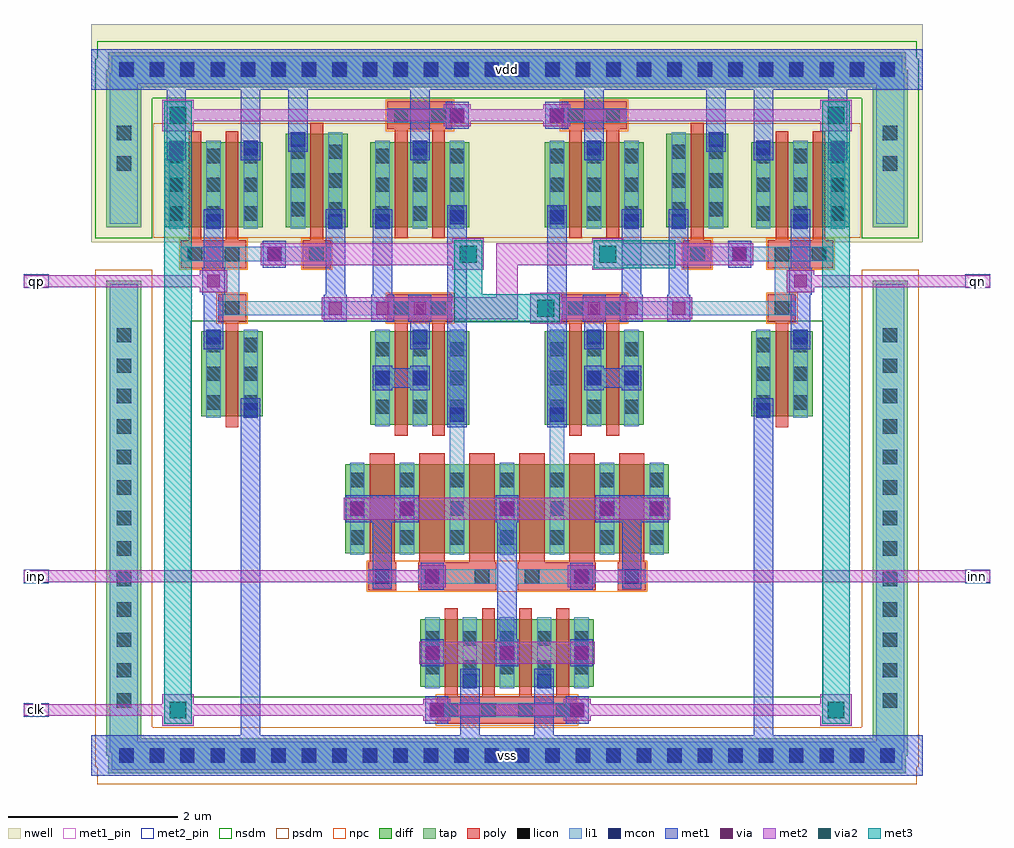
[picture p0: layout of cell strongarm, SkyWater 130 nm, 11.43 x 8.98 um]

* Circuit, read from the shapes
.subckt strongarm clk inn inp qn qp vdd vss
XM1 vss n1 qp vss sky130_fd_pr__nfet_01v8 w=1 l=0.15
XM2 n2 n2 n2 vss sky130_fd_pr__nfet_01v8 w=1.05 l=0.3 m=2
XM3 n3 n1 n3 vss sky130_fd_pr__nfet_01v8 w=1.1 l=0.15
XM4 n4 inp n2 vss sky130_fd_pr__nfet_01v8 w=1.05 l=0.3 m=2
XM5 n4 n1 n3 vss sky130_fd_pr__nfet_01v8 w=1.1 l=0.15
XM6 vss clk n2 vss sky130_fd_pr__nfet_01v8 w=0.8 l=0.15 m=4
XM7 n5 inn n2 vss sky130_fd_pr__nfet_01v8 w=1.05 l=0.3 m=2
XM8 n1 n3 n5 vss sky130_fd_pr__nfet_01v8 w=1.1 l=0.15
XM9 n1 n3 n1 vss sky130_fd_pr__nfet_01v8 w=1.1 l=0.15
XM10 qn n3 vss vss sky130_fd_pr__nfet_01v8 w=1 l=0.15
XM11 qp n1 vdd vdd sky130_fd_pr__pfet_01v8 w=1 l=0.15 m=2
XM12 n3 n1 vdd vdd sky130_fd_pr__pfet_01v8 w=1.1 l=0.15
XM13 vdd clk n3 vdd sky130_fd_pr__pfet_01v8 w=1 l=0.15
XM14 n4 clk vdd vdd sky130_fd_pr__pfet_01v8 w=1 l=0.15
XM15 vdd clk n5 vdd sky130_fd_pr__pfet_01v8 w=1 l=0.15
XM16 n1 clk vdd vdd sky130_fd_pr__pfet_01v8 w=1 l=0.15
XM17 vdd n3 n1 vdd sky130_fd_pr__pfet_01v8 w=1.1 l=0.15
XM18 qn n3 vdd vdd sky130_fd_pr__pfet_01v8 w=1 l=0.15 m=2
.ends

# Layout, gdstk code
import gdstk
lib = gdstk.Library(unit=1e-6, precision=1e-09)
def R(c, l, rs):  # rectangles x0, y0, x1, y1
    for r in rs: c.add(gdstk.rectangle(r[:2], r[2:], *l))
def A(c, l, x, y, w, h, nx, ny, dx, dy):  # array of equal rectangles
    R(c, l, [(x+i*dx, y+j*dy, x+i*dx+w, y+j*dy+h) for i in range(nx) for j in range(ny)])
nwell = (64, 20)
diff = (65, 20)
tap = (65, 44)
poly = (66, 20)
licon = (66, 44)
li1 = (67, 20)
mcon = (67, 44)
met1_pin = (68, 16)
met1 = (68, 20)
via = (68, 44)
met2_pin = (69, 16)
met2 = (69, 20)
via2 = (69, 44)
met3 = (70, 20)
nsdm = (93, 44)
psdm = (94, 20)
npc = (95, 20)

strongarm = lib.new_cell('strongarm')
R(strongarm, nwell, [(-4.915,6.31,4.915,8.89)])
A(strongarm, diff, -1.025, 1.055, 0.73, 0.8, 4, 1, 0.44, 0)
A(strongarm, diff, -1.915, 2.635, 0.88, 1.05, 6, 1, 0.59, 0)
R(strongarm, diff, [(-1.615,4.155,-0.885,5.255), (-1.175,4.155,-0.445,5.255), (0.445,4.155,1.175,5.255), (0.885,4.155,1.615,5.255), (-3.615,4.255,-2.885,5.255), (2.885,4.255,3.615,5.255), (-4.055,6.49,-3.325,7.49), (-3.615,6.49,-2.885,7.49), (-2.615,6.49,-1.885,7.59), (-1.615,6.49,-0.885,7.49), (-1.175,6.49,-0.445,7.49), (0.445,6.49,1.175,7.49), (0.885,6.49,1.615,7.49), (1.885,6.49,2.615,7.59), (2.885,6.49,3.615,7.49), (3.325,6.49,4.055,7.49)])
R(strongarm, tap, [(-4.715,0.035,4.715,0.445), (-4.735,0.24,-4.325,5.855), (4.325,0.24,4.735,5.855), (-4.735,6.49,-4.325,8.35), (4.325,6.49,4.735,8.35), (-4.715,8.145,4.715,8.555)])
A(strongarm, poly, -0.825, 0.615, 0.33, 0.33, 4, 1, 0.44, 0)
A(strongarm, poly, -0.505, 0.615, 0.13, 0.33, 3, 1, 0.44, 0)
A(strongarm, poly, -0.735, 0.945, 0.15, 1.04, 4, 1, 0.44, 0)
A(strongarm, poly, -1.64, 2.195, 0.33, 0.33, 6, 1, 0.59, 0)
A(strongarm, poly, -1.625, 2.525, 0.3, 1.29, 6, 1, 0.59, 0)
R(strongarm, poly, [(-0.73,2.195,-0.45,2.525), (0.45,2.195,0.73,2.525), (-1.325,4.025,-1.175,5.365), (-0.885,4.025,-0.735,5.365), (0.735,4.025,0.885,5.365), (1.175,4.025,1.325,5.365), (-3.325,4.125,-3.175,5.365), (3.175,4.125,3.325,5.365), (-3.415,5.365,-3.085,5.695), (-1.415,5.365,-1.085,5.695), (-1.095,5.365,-0.965,5.695), (-0.975,5.365,-0.645,5.695), (0.645,5.365,0.975,5.695), (0.965,5.365,1.095,5.695), (1.085,5.365,1.415,5.695), (3.085,5.365,3.415,5.695), (-3.855,6.005,-3.525,6.335), (-3.535,6.005,-3.405,6.335), (-3.415,6.005,-3.085,6.335), (-2.415,6.005,-2.085,6.335), (2.085,6.005,2.415,6.335), (3.085,6.005,3.415,6.335), (3.405,6.005,3.535,6.335), (3.525,6.005,3.855,6.335), (-3.765,6.335,-3.615,7.62), (-3.325,6.335,-3.175,7.62), (-2.325,6.335,-2.175,7.72), (2.175,6.335,2.325,7.72), (3.175,6.335,3.325,7.62), (3.615,6.335,3.765,7.62), (-1.325,6.36,-1.175,7.645), (-0.885,6.36,-0.735,7.645), (0.735,6.36,0.885,7.645), (1.175,6.36,1.325,7.645), (-1.415,7.645,-1.085,7.975), (-1.095,7.645,-0.965,7.975), (-0.975,7.645,-0.645,7.975), (0.645,7.645,0.975,7.975), (0.965,7.645,1.095,7.975), (1.085,7.645,1.415,7.975)])
A(strongarm, licon, -4.585, 0.155, 0.17, 0.17, 26, 2, 0.36, 8.11)
A(strongarm, licon, -0.745, 0.695, 0.17, 0.17, 4, 1, 0.44, 0)
A(strongarm, licon, -4.615, 0.805, 0.17, 0.17, 1, 13, 0, 0.36)
A(strongarm, licon, 4.445, 0.805, 0.17, 0.17, 1, 13, 0, 0.36)
A(strongarm, licon, -1.56, 2.275, 0.17, 0.17, 6, 1, 0.59, 0)
A(strongarm, licon, -1.855, 2.735, 0.17, 0.17, 1, 3, 0, 0.34)
A(strongarm, licon, 1.685, 2.735, 0.17, 0.17, 1, 3, 0, 0.34)
A(strongarm, licon, -1.555, 4.28, 0.17, 0.17, 1, 3, 0, 0.34)
A(strongarm, licon, -0.675, 4.28, 0.17, 0.17, 1, 3, 0, 0.34)
A(strongarm, licon, 0.505, 4.28, 0.17, 0.17, 1, 3, 0, 0.34)
A(strongarm, licon, 1.385, 4.28, 0.17, 0.17, 1, 3, 0, 0.34)
A(strongarm, licon, -3.555, 4.33, 0.17, 0.17, 1, 3, 0, 0.34)
A(strongarm, licon, -3.115, 4.33, 0.17, 0.17, 1, 3, 0, 0.34)
A(strongarm, licon, 2.945, 4.33, 0.17, 0.17, 1, 3, 0, 0.34)
A(strongarm, licon, 3.385, 4.33, 0.17, 0.17, 1, 3, 0, 0.34)
A(strongarm, licon, -3.995, 6.565, 0.17, 0.17, 1, 3, 0, 0.34)
A(strongarm, licon, -3.115, 6.565, 0.17, 0.17, 1, 3, 0, 0.34)
A(strongarm, licon, -1.555, 6.565, 0.17, 0.17, 1, 3, 0, 0.34)
A(strongarm, licon, -0.675, 6.565, 0.17, 0.17, 1, 3, 0, 0.34)
A(strongarm, licon, 0.505, 6.565, 0.17, 0.17, 1, 3, 0, 0.34)
A(strongarm, licon, 1.385, 6.565, 0.17, 0.17, 1, 3, 0, 0.34)
A(strongarm, licon, 2.945, 6.565, 0.17, 0.17, 1, 3, 0, 0.34)
A(strongarm, licon, 3.825, 6.565, 0.17, 0.17, 1, 3, 0, 0.34)
A(strongarm, licon, -2.555, 6.615, 0.17, 0.17, 1, 3, 0, 0.34)
A(strongarm, licon, -2.115, 6.615, 0.17, 0.17, 1, 3, 0, 0.34)
A(strongarm, licon, 1.945, 6.615, 0.17, 0.17, 1, 3, 0, 0.34)
A(strongarm, licon, 2.385, 6.615, 0.17, 0.17, 1, 3, 0, 0.34)
R(strongarm, licon, [(-0.965,1.2,-0.795,1.37), (-0.525,1.2,-0.355,1.37), (-0.525,1.2,-0.355,1.37), (-0.085,1.2,0.085,1.37), (-0.085,1.2,0.085,1.37), (0.355,1.2,0.525,1.37), (0.355,1.2,0.525,1.37), (0.795,1.2,0.965,1.37), (-0.965,1.54,-0.795,1.71), (-0.525,1.54,-0.355,1.71), (-0.525,1.54,-0.355,1.71), (-0.085,1.54,0.085,1.71), (-0.085,1.54,0.085,1.71), (0.355,1.54,0.525,1.71), (0.355,1.54,0.525,1.71), (0.795,1.54,0.965,1.71), (-1.265,2.735,-1.095,2.905), (-1.265,2.735,-1.095,2.905), (-0.675,2.735,-0.505,2.905), (-0.675,2.735,-0.505,2.905), (-0.085,2.735,0.085,2.905), (-0.085,2.735,0.085,2.905), (0.505,2.735,0.675,2.905), (0.505,2.735,0.675,2.905), (1.095,2.735,1.265,2.905), (1.095,2.735,1.265,2.905), (-1.265,3.075,-1.095,3.245), (-1.265,3.075,-1.095,3.245), (-0.675,3.075,-0.505,3.245), (-0.675,3.075,-0.505,3.245), (-0.085,3.075,0.085,3.245), (-0.085,3.075,0.085,3.245), (0.505,3.075,0.675,3.245), (0.505,3.075,0.675,3.245), (1.095,3.075,1.265,3.245), (1.095,3.075,1.265,3.245), (-1.265,3.415,-1.095,3.585), (-1.265,3.415,-1.095,3.585), (-0.675,3.415,-0.505,3.585), (-0.675,3.415,-0.505,3.585), (-0.085,3.415,0.085,3.585), (-0.085,3.415,0.085,3.585), (0.505,3.415,0.675,3.585), (0.505,3.415,0.675,3.585), (1.095,3.415,1.265,3.585), (1.095,3.415,1.265,3.585), (-1.115,4.28,-0.945,4.45), (-1.115,4.28,-0.945,4.45), (0.945,4.28,1.115,4.45), (0.945,4.28,1.115,4.45), (-1.115,4.62,-0.945,4.79), (-1.115,4.62,-0.945,4.79), (0.945,4.62,1.115,4.79), (0.945,4.62,1.115,4.79), (-1.115,4.96,-0.945,5.13), (-1.115,4.96,-0.945,5.13), (0.945,4.96,1.115,5.13), (0.945,4.96,1.115,5.13), (-3.335,5.445,-3.165,5.615), (-1.335,5.445,-1.165,5.615), (-0.895,5.445,-0.725,5.615), (0.725,5.445,0.895,5.615), (1.165,5.445,1.335,5.615), (3.165,5.445,3.335,5.615), (-3.775,6.085,-3.605,6.255), (-3.335,6.085,-3.165,6.255), (-2.335,6.085,-2.165,6.255), (2.165,6.085,2.335,6.255), (3.165,6.085,3.335,6.255), (3.605,6.085,3.775,6.255), (-3.555,6.565,-3.385,6.735), (-3.555,6.565,-3.385,6.735), (-1.115,6.565,-0.945,6.735), (-1.115,6.565,-0.945,6.735), (0.945,6.565,1.115,6.735), (0.945,6.565,1.115,6.735), (3.385,6.565,3.555,6.735), (3.385,6.565,3.555,6.735), (-3.555,6.905,-3.385,7.075), (-3.555,6.905,-3.385,7.075), (-1.115,6.905,-0.945,7.075), (-1.115,6.905,-0.945,7.075), (0.945,6.905,1.115,7.075), (0.945,6.905,1.115,7.075), (3.385,6.905,3.555,7.075), (3.385,6.905,3.555,7.075), (-4.615,7.155,-4.445,7.325), (4.445,7.155,4.615,7.325), (-3.555,7.245,-3.385,7.415), (-3.555,7.245,-3.385,7.415), (-1.115,7.245,-0.945,7.415), (-1.115,7.245,-0.945,7.415), (0.945,7.245,1.115,7.415), (0.945,7.245,1.115,7.415), (3.385,7.245,3.555,7.415), (3.385,7.245,3.555,7.415), (-4.615,7.515,-4.445,7.685), (4.445,7.515,4.615,7.685), (-1.335,7.725,-1.165,7.895), (-0.895,7.725,-0.725,7.895), (0.725,7.725,0.895,7.895), (1.165,7.725,1.335,7.895)])
A(strongarm, li1, -0.825, 0.695, 0.33, 0.17, 4, 1, 0.44, 0)
A(strongarm, li1, -0.505, 0.695, 0.13, 0.17, 3, 1, 0.44, 0)
A(strongarm, li1, -1.64, 2.275, 0.33, 0.17, 6, 1, 0.59, 0)
R(strongarm, li1, [(-4.675,0.075,4.675,0.405), (-4.695,0.28,-4.365,5.815), (4.365,0.28,4.695,5.815), (-0.915,0.695,0.915,0.865), (-0.965,1.035,-0.795,1.875), (-0.525,1.035,-0.355,1.875), (-0.525,1.035,-0.355,1.875), (-0.085,1.035,0.085,1.875), (-0.085,1.035,0.085,1.875), (0.355,1.035,0.525,1.875), (0.355,1.035,0.525,1.875), (0.795,1.035,0.965,1.875), (-0.73,2.275,-0.45,2.445), (0.45,2.275,0.73,2.445), (-1.855,2.615,-1.685,3.705), (-1.265,2.615,-1.095,3.705), (-1.265,2.615,-1.095,3.705), (-0.675,2.615,-0.505,3.705), (-0.675,2.615,-0.505,3.705), (-0.085,2.615,0.085,3.705), (-0.085,2.615,0.085,3.705), (0.505,2.615,0.675,3.705), (0.505,2.615,0.675,3.705), (1.095,2.615,1.265,3.705), (1.095,2.615,1.265,3.705), (1.685,2.615,1.855,3.705), (-0.675,3.695,-0.505,4.145), (0.505,3.695,0.675,4.145), (-1.555,4.135,-1.385,5.275), (-1.115,4.135,-0.945,5.275), (-1.115,4.135,-0.945,5.275), (-0.675,4.135,-0.505,5.275), (0.505,4.135,0.675,5.275), (0.945,4.135,1.115,5.275), (0.945,4.135,1.115,5.275), (1.385,4.135,1.555,5.275), (-3.555,4.235,-3.385,5.275), (-3.115,4.235,-2.945,5.275), (2.945,4.235,3.115,5.275), (3.385,4.235,3.555,5.275), (-3.415,5.445,-3.085,5.615), (-3.335,5.445,-0.725,5.615), (-1.415,5.445,-1.085,5.615), (-1.095,5.445,-0.965,5.615), (-0.975,5.445,-0.645,5.615), (0.645,5.445,0.975,5.615), (0.725,5.445,3.335,5.615), (0.965,5.445,1.095,5.615), (1.085,5.445,1.415,5.615), (3.085,5.445,3.415,5.615), (-3.335,5.53,-3.165,6.17), (3.165,5.53,3.335,6.17), (-3.855,6.085,-3.525,6.255), (-3.775,6.085,-2.165,6.255), (-3.535,6.085,-3.405,6.255), (-3.415,6.085,-3.085,6.255), (-2.415,6.085,-2.085,6.255), (2.085,6.085,2.415,6.255), (2.165,6.085,3.775,6.255), (3.085,6.085,3.415,6.255), (3.405,6.085,3.535,6.255), (3.525,6.085,3.855,6.255), (-3.995,6.47,-3.825,7.51), (-3.555,6.47,-3.385,7.51), (-3.555,6.47,-3.385,7.51), (-3.115,6.47,-2.945,7.51), (-2.555,6.47,-2.385,7.61), (-2.115,6.47,-1.945,7.61), (-1.555,6.47,-1.385,7.51), (-1.115,6.47,-0.945,7.51), (-1.115,6.47,-0.945,7.51), (-0.675,6.47,-0.505,7.51), (0.505,6.47,0.675,7.51), (0.945,6.47,1.115,7.51), (0.945,6.47,1.115,7.51), (1.385,6.47,1.555,7.51), (1.945,6.47,2.115,7.61), (2.385,6.47,2.555,7.61), (2.945,6.47,3.115,7.51), (3.385,6.47,3.555,7.51), (3.385,6.47,3.555,7.51), (3.825,6.47,3.995,7.51), (-4.695,6.53,-4.365,8.31), (4.365,6.53,4.695,8.31), (-1.415,7.725,-1.085,7.895), (-1.335,7.725,-0.505,7.895), (-1.095,7.725,-0.965,7.895), (-0.975,7.725,-0.645,7.895), (0.505,7.725,1.335,7.895), (0.645,7.725,0.975,7.895), (0.965,7.725,1.095,7.895), (1.085,7.725,1.415,7.895), (-4.675,8.185,4.675,8.515)])
A(strongarm, mcon, -4.585, 0.155, 0.17, 0.17, 26, 2, 0.36, 8.11)
A(strongarm, mcon, -0.965, 1.37, 0.17, 0.17, 3, 1, 0.88, 0)
A(strongarm, mcon, -1.265, 3.075, 0.17, 0.17, 3, 1, 1.18, 0)
R(strongarm, mcon, [(-0.915,0.695,-0.745,0.865), (0.745,0.695,0.915,0.865), (-0.525,1.035,-0.355,1.205), (0.355,1.035,0.525,1.205), (-1.56,2.275,-1.39,2.445), (-0.97,2.275,-0.8,2.445), (0.795,2.275,0.965,2.445), (1.39,2.275,1.56,2.445), (-1.855,3.075,-1.685,3.245), (1.685,3.075,1.855,3.245), (-0.675,4.185,-0.505,4.355), (0.505,4.185,0.675,4.355), (-3.115,4.235,-2.945,4.405), (2.945,4.235,3.115,4.405), (-1.555,4.62,-1.385,4.79), (-1.115,4.62,-0.945,4.79), (0.945,4.62,1.115,4.79), (1.385,4.62,1.555,4.79), (-3.555,5.105,-3.385,5.275), (-1.115,5.105,-0.945,5.275), (0.945,5.105,1.115,5.275), (3.385,5.105,3.555,5.275), (-2.835,6.085,-2.665,6.255), (2.665,6.085,2.835,6.255), (-3.555,6.47,-3.385,6.64), (-2.115,6.47,-1.945,6.64), (-1.555,6.47,-1.385,6.64), (1.385,6.47,1.555,6.64), (1.945,6.47,2.115,6.64), (3.385,6.47,3.555,6.64), (-0.675,6.52,-0.505,6.69), (0.505,6.52,0.675,6.69), (-3.995,7.34,-3.825,7.51), (-3.115,7.34,-2.945,7.51), (-1.115,7.34,-0.945,7.51), (0.945,7.34,1.115,7.51), (2.945,7.34,3.115,7.51), (3.825,7.34,3.995,7.51), (-2.555,7.44,-2.385,7.61), (2.385,7.44,2.555,7.61), (-0.675,7.725,-0.505,7.895), (0.505,7.725,0.675,7.895)])
R(strongarm, met1_pin, [(-0.15,0.16,0.15,0.32), (-0.15,8.27,0.15,8.43)])
A(strongarm, met1, -1.015, 1.295, 0.27, 0.32, 3, 1, 0.88, 0)
A(strongarm, met1, -1.315, 3, 0.27, 0.32, 3, 1, 1.18, 0)
R(strongarm, met1, [(-4.915,0,4.915,0.48), (-3.145,0.24,-2.915,4.405), (-0.555,0.24,-0.325,1.205), (0.325,0.24,0.555,1.205), (2.915,0.24,3.145,4.405), (-0.965,0.62,-0.695,0.94), (0.695,0.62,0.965,0.94), (-0.555,0.975,-0.325,1.265), (0.325,0.975,0.555,1.265), (-0.115,1.455,0.115,3.16), (-1.02,2.2,-0.75,2.52), (-1.02,2.2,-0.75,2.52), (0.745,2.2,1.015,2.52), (0.745,2.2,1.015,2.52), (-1.59,2.215,-1.36,2.505), (1.36,2.215,1.59,2.505), (-1.59,2.36,-1.36,3.16), (1.36,2.36,1.59,3.16), (-1.905,3,-1.635,3.32), (-1.77,3,-1.18,3.32), (1.18,3,1.77,3.32), (1.635,3,1.905,3.32), (-0.705,4.125,-0.475,4.415), (0.475,4.125,0.705,4.415), (-3.145,4.175,-2.915,4.465), (2.915,4.175,3.145,4.465), (-0.705,4.185,-0.475,6.69), (0.475,4.185,0.705,6.69), (-1.585,4.56,-1.355,4.85), (-1.145,4.56,-0.915,4.85), (0.915,4.56,1.145,4.85), (1.355,4.56,1.585,4.85), (-1.47,4.59,-1.03,4.82), (1.03,4.59,1.47,4.82), (-3.585,5.045,-3.355,5.335), (-1.145,5.045,-0.915,5.335), (0.915,5.045,1.145,5.335), (3.355,5.045,3.585,5.335), (-3.585,5.105,-3.355,6.64), (-1.145,5.105,-0.915,5.53), (0.915,5.105,1.145,5.53), (3.355,5.105,3.585,6.64), (-2.165,5.37,-1.895,5.69), (-2.145,5.37,-1.915,5.69), (-1.605,5.37,-1.335,5.69), (-1.585,5.37,-1.355,5.69), (-1.165,5.37,-0.895,5.69), (-1.145,5.37,-0.915,5.69), (0.895,5.37,1.165,5.69), (0.915,5.37,1.145,5.69), (1.335,5.37,1.605,5.69), (1.355,5.37,1.585,5.69), (1.895,5.37,2.165,5.69), (1.915,5.37,2.145,5.69), (-2.145,5.53,-1.915,6.64), (-1.585,5.53,-1.355,6.64), (1.355,5.53,1.585,6.64), (1.915,5.53,2.145,6.64), (-3.605,5.69,-3.335,6.01), (3.335,5.69,3.605,6.01), (-2.885,6.01,-2.615,6.33), (2.615,6.01,2.885,6.33), (-3.585,6.41,-3.355,6.7), (-2.145,6.41,-1.915,6.7), (-1.585,6.41,-1.355,6.7), (1.355,6.41,1.585,6.7), (1.915,6.41,2.145,6.7), (3.355,6.41,3.585,6.7), (-0.705,6.46,-0.475,6.75), (0.475,6.46,0.705,6.75), (-4.025,7.28,-3.795,7.57), (-3.145,7.28,-2.915,7.57), (-1.145,7.28,-0.915,7.57), (0.915,7.28,1.145,7.57), (2.915,7.28,3.145,7.57), (3.795,7.28,4.025,7.57), (-4.025,7.34,-3.795,8.35), (-3.145,7.34,-2.915,8.35), (-1.145,7.34,-0.915,8.35), (0.915,7.34,1.145,8.35), (2.915,7.34,3.145,8.35), (3.795,7.34,4.025,8.35), (-2.585,7.38,-2.355,7.67), (2.355,7.38,2.585,7.67), (-2.585,7.44,-2.355,8.35), (2.355,7.44,2.585,8.35), (-0.725,7.65,-0.455,7.97), (0.455,7.65,0.725,7.97), (-4.915,8.11,4.915,8.59)])
A(strongarm, via, -0.955, 1.38, 0.15, 0.15, 3, 1, 0.88, 0)
A(strongarm, via, -1.255, 3.085, 0.15, 0.15, 3, 1, 1.18, 0)
R(strongarm, via, [(-0.905,0.705,-0.755,0.855), (0.755,0.705,0.905,0.855), (-0.96,2.285,-0.81,2.435), (0.805,2.285,0.955,2.435), (-1.845,3.085,-1.695,3.235), (1.695,3.085,1.845,3.235), (-2.105,5.455,-1.955,5.605), (-1.545,5.455,-1.395,5.605), (-1.105,5.455,-0.955,5.605), (0.955,5.455,1.105,5.605), (1.395,5.455,1.545,5.605), (1.955,5.455,2.105,5.605), (-3.545,5.775,-3.395,5.925), (3.395,5.775,3.545,5.925), (-2.825,6.095,-2.675,6.245), (2.675,6.095,2.825,6.245), (-0.665,7.735,-0.515,7.885), (0.515,7.735,0.665,7.885)])
R(strongarm, met2_pin, [(-5.715,0.7,-5.415,0.86), (-5.715,2.28,-5.415,2.44), (5.415,2.28,5.715,2.44), (-5.715,5.77,-5.415,5.93), (5.415,5.77,5.715,5.93)])
A(strongarm, met2, -1.04, 1.325, 0.32, 0.26, 3, 1, 0.88, 0)
A(strongarm, met2, -1.34, 3.03, 0.32, 0.26, 3, 1, 1.18, 0)
R(strongarm, met2, [(-4.075,0.595,-3.705,0.965), (3.705,0.595,4.075,0.965), (-0.99,0.65,-0.67,0.91), (0.67,0.65,0.99,0.91), (-5.715,0.71,3.89,0.85), (-0.88,1.325,0.88,1.585), (-1.045,2.23,-0.725,2.49), (0.72,2.23,1.04,2.49), (-5.715,2.29,-0.885,2.43), (0.88,2.29,5.715,2.43), (-1.93,3.03,-1.61,3.29), (-1.77,3.03,1.77,3.29), (1.61,3.03,1.93,3.29), (0.275,5.345,0.645,5.715), (-2.19,5.4,-1.87,5.66), (-2.03,5.4,0,5.66), (-1.63,5.4,-1.31,5.66), (-1.19,5.4,-0.87,5.66), (-0.13,5.4,0.13,6.3), (0.46,5.4,2.03,5.66), (0.87,5.4,1.19,5.66), (1.31,5.4,1.63,5.66), (1.87,5.4,2.19,5.66), (-3.63,5.72,-3.31,5.98), (3.31,5.72,3.63,5.98), (-5.715,5.78,-3.47,5.92), (3.47,5.78,5.715,5.92), (-0.645,5.985,-0.275,6.355), (1.005,5.985,1.375,6.355), (-2.91,6.04,-2.59,6.3), (-2.75,6.04,-0.46,6.3), (0,6.04,2.75,6.3), (2.59,6.04,2.91,6.3), (-4.075,7.625,-3.705,7.995), (3.705,7.625,4.075,7.995), (-0.75,7.68,-0.43,7.94), (0.43,7.68,0.75,7.94), (-3.89,7.74,3.89,7.88)])
R(strongarm, via2, [(-3.99,0.68,-3.79,0.88), (3.79,0.68,3.99,0.88), (0.36,5.43,0.56,5.63), (-0.56,6.07,-0.36,6.27), (1.09,6.07,1.29,6.27), (-3.99,7.71,-3.79,7.91), (3.79,7.71,3.99,7.91)])
R(strongarm, met3, [(-4.055,0.615,-3.725,0.945), (3.725,0.615,4.055,0.945), (-4.055,0.78,-3.725,7.81), (3.725,0.78,4.055,7.81), (-0.625,5.365,-0.295,6.335), (-0.625,5.365,0.625,5.695), (0.295,5.365,0.625,5.695), (-0.625,6.005,-0.295,6.335), (1.025,6.005,1.355,6.335), (1.025,6.005,1.99,6.335), (-4.055,7.645,-3.725,7.975), (3.725,7.645,4.055,7.975)])
A(strongarm, nsdm, -1.15, 0.93, 0.98, 1.05, 4, 1, 0.44, 0)
A(strongarm, nsdm, -2.04, 2.51, 1.13, 1.3, 6, 1, 0.59, 0)
R(strongarm, nsdm, [(-3.74,0.93,3.74,5.38), (-1.74,4.03,-0.76,5.38), (-1.3,4.03,-0.32,5.38), (0.32,4.03,1.3,5.38), (0.76,4.03,1.74,5.38), (-3.74,4.13,-2.76,5.38), (2.76,4.13,3.74,5.38), (-4.865,6.36,-4.195,8.48), (4.195,6.36,4.865,8.48), (-4.845,8.015,4.845,8.685)])
R(strongarm, psdm, [(-4.845,-0.095,4.845,0.575), (-4.865,0.11,-4.195,5.985), (4.195,0.11,4.865,5.985), (-4.18,6.365,4.18,7.715), (-4.18,6.365,-3.2,7.615), (-3.74,6.365,-2.76,7.615), (-2.77,6.365,-2.73,7.615), (-2.74,6.365,-1.76,7.715), (-1.77,6.365,-1.73,7.615), (-1.74,6.365,-0.76,7.615), (-1.3,6.365,-0.32,7.615), (0.32,6.365,1.3,7.615), (0.76,6.365,1.74,7.615), (1.73,6.365,1.77,7.615), (1.76,6.365,2.74,7.715), (2.73,6.365,2.77,7.615), (2.76,6.365,3.74,7.615), (3.2,6.365,4.18,7.615)])
A(strongarm, npc, -0.845, 0.595, 0.37, 0.37, 4, 1, 0.44, 0)
A(strongarm, npc, -0.485, 0.595, 0.09, 0.37, 3, 1, 0.44, 0)
A(strongarm, npc, -1.66, 2.175, 0.37, 0.37, 6, 1, 0.59, 0)
A(strongarm, npc, -1.3, 2.175, 0.24, 0.37, 5, 1, 0.59, 0)
R(strongarm, npc, [(-3.435,5.345,-3.065,5.715), (-1.435,5.345,-1.065,5.715), (-1.075,5.345,-0.985,5.715), (-0.995,5.345,-0.625,5.715), (0.625,5.345,0.995,5.715), (0.985,5.345,1.075,5.715), (1.065,5.345,1.435,5.715), (3.065,5.345,3.435,5.715), (-3.875,5.985,-3.505,6.355), (-3.515,5.985,-3.425,6.355), (-3.435,5.985,-3.065,6.355), (-2.435,5.985,-2.065,6.355), (2.065,5.985,2.435,6.355), (3.065,5.985,3.435,6.355), (3.425,5.985,3.515,6.355), (3.505,5.985,3.875,6.355), (-1.435,7.625,-1.065,7.995), (-1.075,7.625,-0.985,7.995), (-0.995,7.625,-0.625,7.995), (0.625,7.625,0.995,7.995), (0.985,7.625,1.075,7.995), (1.065,7.625,1.435,7.995)])
strongarm.add(gdstk.Label('inp', (-5.565,2.36), layer=69, texttype=5))
strongarm.add(gdstk.Label('inn', (5.565,2.36), layer=69, texttype=5))
strongarm.add(gdstk.Label('qp', (-5.565,5.85), layer=69, texttype=5))
strongarm.add(gdstk.Label('qn', (5.565,5.85), layer=69, texttype=5))
strongarm.add(gdstk.Label('clk', (-5.565,0.78), layer=69, texttype=5))
strongarm.add(gdstk.Label('vss', (0,0.24), layer=68, texttype=5))
strongarm.add(gdstk.Label('vdd', (0,8.35), layer=68, texttype=5))

lib.write_gds('strongarm.gds')
